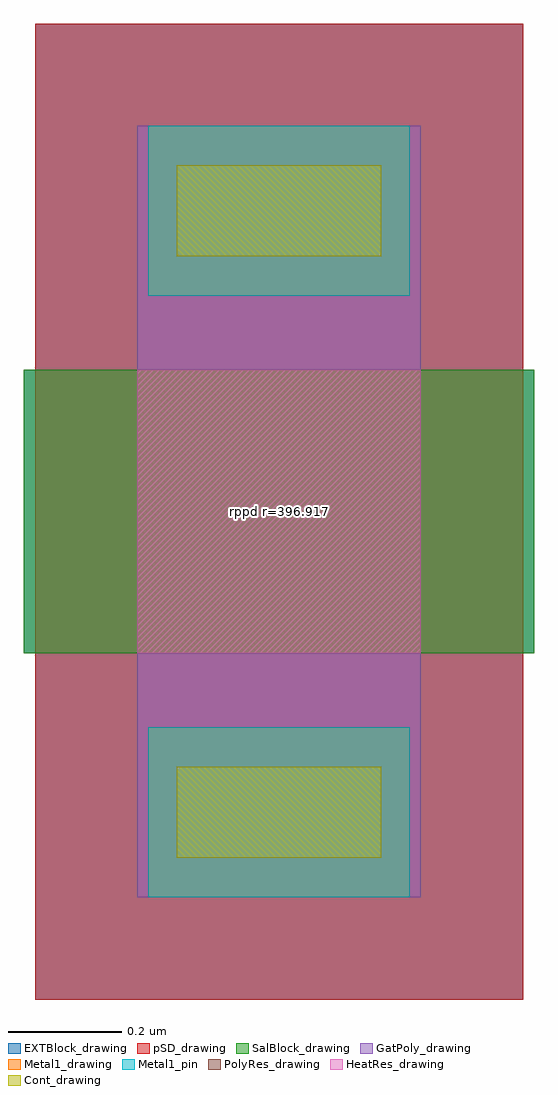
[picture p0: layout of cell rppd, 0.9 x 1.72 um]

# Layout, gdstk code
import gdstk
lib = gdstk.Library(unit=1e-6, precision=1e-09)
def R(c, l, rs):  # rectangles x0, y0, x1, y1
    for r in rs: c.add(gdstk.rectangle(r[:2], r[2:], *l))
GatPoly_drawing = (5, 0)
Cont_drawing = (6, 0)
Metal1_drawing = (8, 0)
Metal1_pin = (8, 2)
pSD_drawing = (14, 0)
SalBlock_drawing = (28, 0)
HeatRes_drawing = (52, 0)
EXTBlock_drawing = (111, 0)
PolyRes_drawing = (128, 0)

rppd = lib.new_cell('rppd')
R(rppd, GatPoly_drawing, [(0,-0.43,0.5,-0.2), (0,-0.2,0.5,0), (0,0.5,0.5,0.7), (0,0.7,0.5,0.93)])
R(rppd, Cont_drawing, [(0.07,-0.36,0.43,-0.2), (0.07,0.7,0.43,0.86)])
R(rppd, Metal1_drawing, [(0.02,-0.43,0.48,-0.13), (0.02,0.63,0.48,0.93)])
R(rppd, Metal1_pin, [(0.02,-0.43,0.48,-0.13), (0.02,0.63,0.48,0.93)])
R(rppd, pSD_drawing, [(-0.18,-0.61,0.68,0), (-0.18,0,0.68,0.5), (-0.18,0.5,0.68,1.11)])
R(rppd, SalBlock_drawing, [(-0.2,0,0.7,0.5)])
R(rppd, HeatRes_drawing, [(0,0,0.5,0.5)])
R(rppd, EXTBlock_drawing, [(-0.18,-0.61,0.68,0), (-0.2,0,0.7,0.5), (-0.18,0.5,0.68,1.11)])
R(rppd, PolyRes_drawing, [(0,0,0.5,0.5)])
rppd.add(gdstk.Label('rppd r=396.917', (0.25,0.25), layer=63, texttype=0))
rppd.add(gdstk.Label('rppd', (0.25,0.25), layer=52, texttype=0))

lib.write_gds('rppd.gds')
